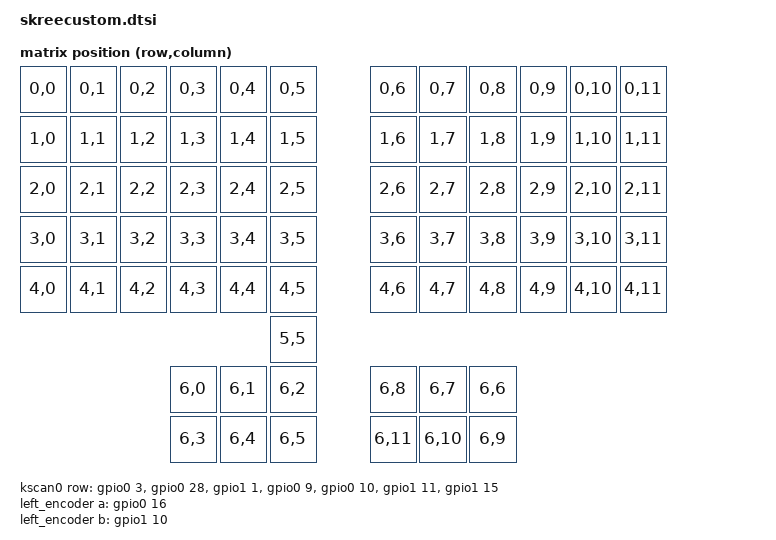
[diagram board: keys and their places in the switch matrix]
#include <dt-bindings/zmk/matrix_transform.h>
#include <input/processors.dtsi>
#include <dt-bindings/zmk/input_transform.h>

 / {
     chosen {
        zmk,kscan = &kscan0;
        zmk,matrix_transform = &default_transform;
    };

 
     default_transform: keymap_transform_0 {
         compatible = "zmk,matrix-transform";
        columns = <12>;
         rows = <6>;

         map = <
RC(0,0) RC(0,1) RC(0,2) RC(0,3) RC(0,4) RC(0,5)		    RC(0,6) RC(0,7) RC(0,8) RC(0,9) RC(0,10) RC(0,11)
RC(1,0) RC(1,1) RC(1,2) RC(1,3) RC(1,4) RC(1,5)		    RC(1,6) RC(1,7) RC(1,8) RC(1,9) RC(1,10) RC(1,11)
RC(2,0) RC(2,1) RC(2,2) RC(2,3) RC(2,4) RC(2,5)		    RC(2,6) RC(2,7) RC(2,8) RC(2,9) RC(2,10) RC(2,11)
RC(3,0) RC(3,1) RC(3,2) RC(3,3) RC(3,4) RC(3,5)		    RC(3,6) RC(3,7) RC(3,8) RC(3,9) RC(3,10) RC(3,11)
RC(4,0) RC(4,1) RC(4,2) RC(4,3) RC(4,4) RC(4,5)		    RC(4,6) RC(4,7) RC(4,8) RC(4,9) RC(4,10) RC(4,11)

										RC(5,5)
			            RC(6,0) RC(6,1) RC(6,2) 	    RC(6,8) RC(6,7) RC(6,6)
			            RC(6,3) RC(6,4) RC(6,5)			RC(6,11) RC(6,10) RC(6,9)

         >;
     };

    kscan0: kscan_0 {
        compatible = "zmk,kscan-gpio-matrix";
	wakeup-source;
        diode-direction = "col2row";
        row-gpios
             = <&gpio0 3 (GPIO_ACTIVE_HIGH | GPIO_PULL_DOWN)> //r1-7 0.03 0.28 1.01 0.09 0.10 1.11 1.15thumbs
            , <&gpio0 28 (GPIO_ACTIVE_HIGH | GPIO_PULL_DOWN)> 
            , <&gpio1 1 (GPIO_ACTIVE_HIGH | GPIO_PULL_DOWN)> 
            , <&gpio0 9 (GPIO_ACTIVE_HIGH | GPIO_PULL_DOWN)> 
            , <&gpio0 10 (GPIO_ACTIVE_HIGH | GPIO_PULL_DOWN)> 
            , <&gpio1 11 (GPIO_ACTIVE_HIGH | GPIO_PULL_DOWN)> 
            , <&gpio1 15 (GPIO_ACTIVE_HIGH | GPIO_PULL_DOWN)> 
            ;

    };

    left_encoder: encoder_left {
        compatible = "alps,ec11";
        a-gpios = <&gpio0 16 (GPIO_ACTIVE_HIGH | GPIO_PULL_UP)>;
        b-gpios = <&gpio1 10 (GPIO_ACTIVE_HIGH | GPIO_PULL_UP)>;
        steps = <6>;
        status = "disabled";
    };

    sensors: sensors {
        compatible = "zmk,keymap-sensors";
        sensors = <&left_encoder>;
        triggers-per-rotation = <6>;
    };

//right hand trackball
    split_inputs {
        #address-cells = <1>;
        #size-cells = <0>;

        trackball_peripheral_split: trackball_peripheral_split@0 {
            compatible = "zmk,input-split";
            reg = <0>;
        };
    };

    trackball_peripheral_listener: trackball_peripheral_listener {
        compatible = "zmk,input-listener";
        status = "disabled";
        device = <&trackball_peripheral_split>;
	input-processors =
	<&zip_xy_transform INPUT_TRANSFORM_X_INVERT>,
	<&zip_xy_transform INPUT_TRANSFORM_Y_INVERT>,
	<&zip_xy_transform INPUT_TRANSFORM_XY_SWAP>,
	<&zip_temp_layer 3 500>;
    };
//left hand trackball
    trackball_central_listener: trackball_central_listener {
        compatible = "zmk,input-listener";
        status = "disabled";
	input-processors = 
	<&zip_xy_to_scroll_mapper>,
	<&zip_scroll_scaler 1 20>,
    <&zip_scroll_transform INPUT_TRANSFORM_XY_SWAP>,
	<&zip_scroll_transform INPUT_TRANSFORM_X_INVERT>;
    };
};
